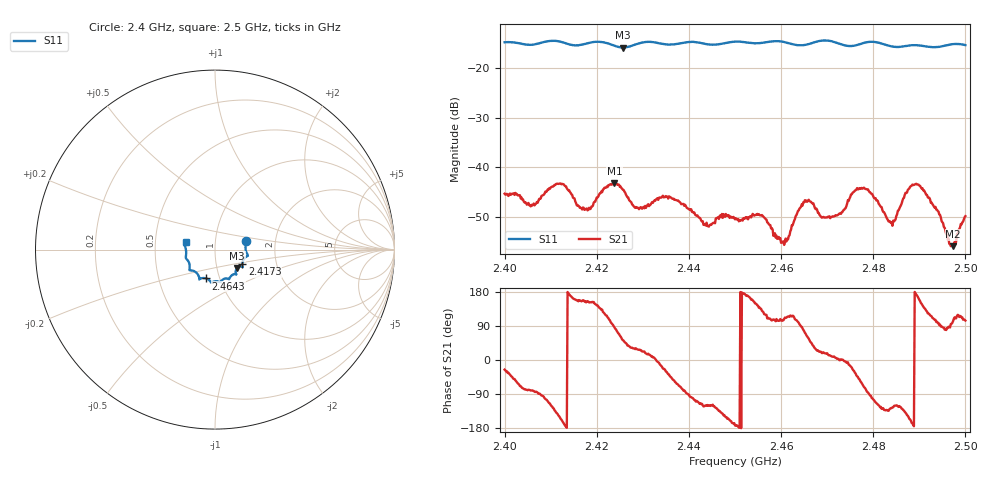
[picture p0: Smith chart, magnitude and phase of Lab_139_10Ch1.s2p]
# Hz S RI R 50
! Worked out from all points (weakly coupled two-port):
!   601 points, 2.4 GHz to 2.5 GHz, reference 50 ohm
!   highest |S21| = -43.11 dB at 2.4238 GHz (marker M1); lowest = -55.8 dB at 2.4973 GHz (marker M2)
!   lowest |S11| = -15.9 dB at 2.4257 GHz (marker M3), VSWR 1.38, Z = 62.4 - j13.1 ohm
!   |S11| at or under -10 dB: start of sweep to end of sweep
!   S12 and S22 are empty: the file has one direction only
!   S11 on the Smith chart (normalised r, x): 2.4 GHz: 1.41, +0.14; 2.4173 GHz: 1.34, -0.23; 2.4643 GHz: 0.86, -0.28; 2.5 GHz: 0.72, +0.06
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2.4e9  0.1735 0.0495  0.00491 -0.00233  0 0  0 0
2.406e9  0.1704 0.000763  0.000709 -0.00407  0 0  0 0
2.412333e9  0.1779 -0.0374  -0.00624 -0.00259  0 0  0 0
2.416667e9  0.1528 -0.0748  -0.00351 0.00166  0 0  0 0
2.417333e9  0.1522 -0.0822  -0.00337 0.00161  0 0  0 0
2.423833e9  0.1378 -0.0939  0.000432 0.00697  0 0  0 0
2.425667e9  0.1225 -0.1024  0.00364 0.00472  0 0  0 0
2.428667e9  0.1155 -0.1291  0.00343 0.0019  0 0  0 0
2.433333e9  0.1127 -0.1366  0.00469 -0.000474  0 0  0 0
2.4375e9  0.0849 -0.1519  0.00207 -0.00416  0 0  0 0
2.443833e9  0.0641 -0.1605  -0.00142 -0.00239  0 0  0 0
2.45e9  0.0298 -0.1808  -0.00298 -0.000375  0 0  0 0
2.455667e9  -0.00417 -0.1774  -0.00233 0.00233  0 0  0 0
2.4605e9  -0.0243 -0.1807  -0.000456 0.00175  0 0  0 0
2.464333e9  -0.0501 -0.1605  0.00011 0.00402  0 0  0 0
2.466667e9  -0.0761 -0.1597  0.00318 0.00302  0 0  0 0
2.471167e9  -0.0869 -0.1619  0.00318 0.000483  0 0  0 0
2.478333e9  -0.1372 -0.1158  0.00144 -0.00588  0 0  0 0
2.483333e9  -0.1407 -0.0896  -0.00199 -0.00205  0 0  0 0
2.489667e9  -0.1626 -0.043  -0.00654 0.00154  0 0  0 0
2.497333e9  -0.1707 0.0279  -0.00036 0.00157  0 0  0 0
2.5e9  -0.1637 0.042  -0.000784 0.00314  0 0  0 0
